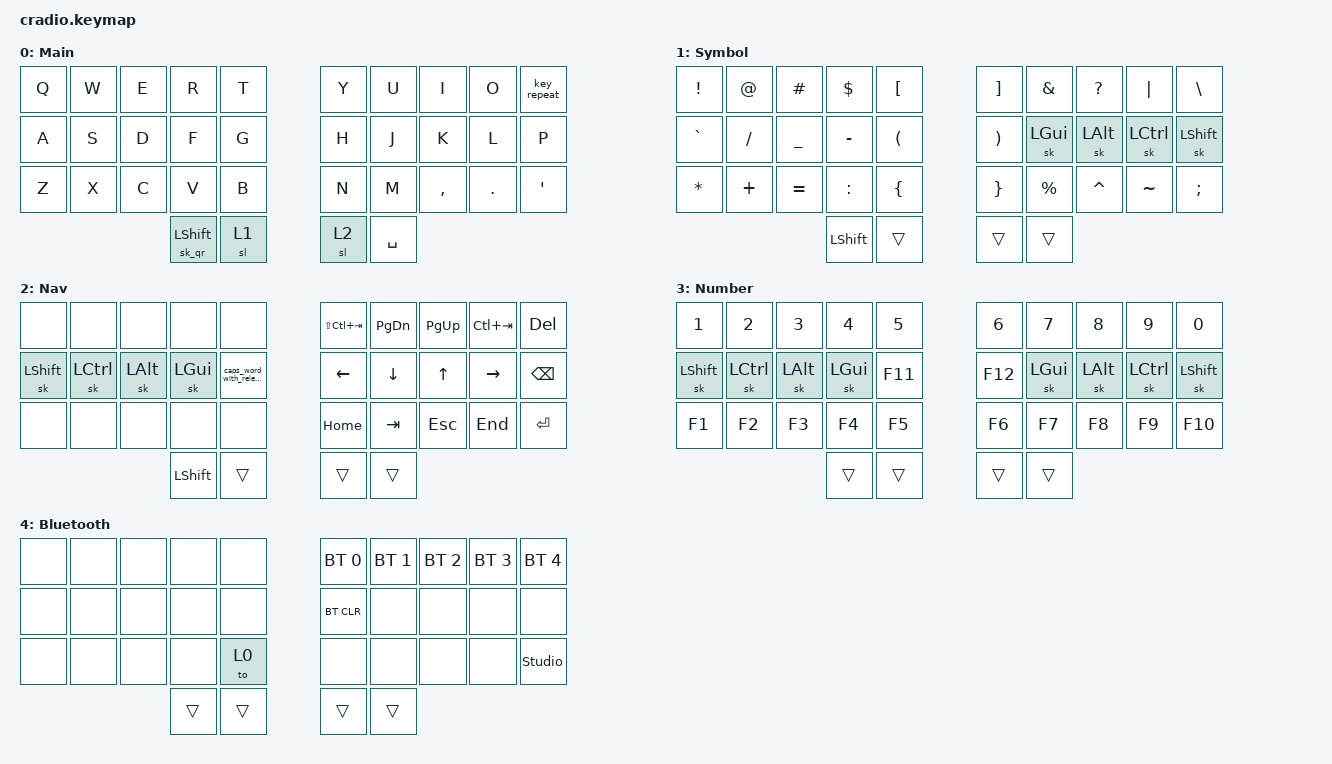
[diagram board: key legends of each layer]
#include <behaviors.dtsi>
#include <dt-bindings/zmk/bt.h>
#include <dt-bindings/zmk/keys.h>

&sk { release-after-ms = <1000>; };

&sl { release-after-ms = <300>; };

&caps_word { continue-list = <UNDERSCORE BACKSPACE DELETE K_CANCEL>; };

/ {
    combos {
        compatible = "zmk,combos";

        bt {
            bindings = <&mo 4>;
            key-positions = <32 33>;
        };

        cmd {
            bindings = <&kp LCMD>;
            key-positions = <30 31>;
        };
    };

    behaviors {
        sk_qr: sk_quick_release {
            compatible = "zmk,behavior-sticky-key";
            label = "SK_QUICK_RELEASE";
            bindings = <&kp>;
            #binding-cells = <1>;
            release-after-ms = <500>;
            quick-release;
            ignore-modifiers;
        };
    };

    macros {
        caps_word_with_release: caps_word_with_release {
            compatible = "zmk,behavior-macro";
            #binding-cells = <0>;
            bindings = <&caps_word &kp K_CANCEL>;
            label = "CAPS_WORD_WITH_RELEASE";
        };
    };

    keymap {
        compatible = "zmk,keymap";

        Main {
            bindings = <
&kp Q  &kp W  &kp E  &kp R              &kp T    &kp Y  &kp U      &kp I      &kp O    &key_repeat
&kp A  &kp S  &kp D  &kp F              &kp G    &kp H  &kp J      &kp K      &kp L    &kp P
&kp Z  &kp X  &kp C  &kp V              &kp B    &kp N  &kp M      &kp COMMA  &kp DOT  &kp SINGLE_QUOTE
                     &sk_qr LEFT_SHIFT  &sl 1    &sl 2  &kp SPACE
            >;
        };

        Symbol {
            bindings = <
&kp EXCLAMATION  &kp AT     &kp POUND  &kp DOLLAR      &kp LEFT_BRACKET    &kp RIGHT_BRACKET  &kp AMPS     &kp QUESTION  &kp PIPE   &kp BACKSLASH
&kp GRAVE        &kp SLASH  &kp UNDER  &kp MINUS       &kp LPAR            &kp RPAR           &sk LGUI     &sk LALT      &sk LCTRL  &sk LSHFT
&kp ASTRK        &kp PLUS   &kp EQUAL  &kp COLON       &kp LEFT_BRACE      &kp RIGHT_BRACE    &kp PERCENT  &kp CARET     &kp TILDE  &kp SEMI
                                       &kp LEFT_SHIFT  &trans              &trans             &trans
            >;
        };

        Nav {
            bindings = <
&none      &none      &none     &none      &none                      &kp LS(LC(TAB))  &kp PG_DN  &kp PG_UP  &kp LC(TAB)  &kp DEL
&sk LSHFT  &sk LCTRL  &sk LALT  &sk LGUI   &caps_word_with_release    &kp LEFT         &kp DOWN   &kp UP     &kp RIGHT    &kp BACKSPACE
&none      &none      &none     &none      &none                      &kp HOME         &kp TAB    &kp ESC    &kp END      &kp ENTER
                                &kp LSHFT  &trans                     &trans           &trans
            >;
        };

        Number {
            bindings = <
&kp N1     &kp N2     &kp N3    &kp N4    &kp N5     &kp N6   &kp N7    &kp N8    &kp N9     &kp N0
&sk LSHFT  &sk LCTRL  &sk LALT  &sk LGUI  &kp F11    &kp F12  &sk LGUI  &sk LALT  &sk LCTRL  &sk LSHFT
&kp F1     &kp F2     &kp F3    &kp F4    &kp F5     &kp F6   &kp F7    &kp F8    &kp F9     &kp F10
                                &trans    &trans     &trans   &trans
            >;
        };

        Bluetooth {
            bindings = <
&none  &none  &none  &none   &none     &bt BT_SEL 0  &bt BT_SEL 1  &bt BT_SEL 2  &bt BT_SEL 3  &bt BT_SEL 4
&none  &none  &none  &none   &none     &bt BT_CLR    &none         &none         &none         &none
&none  &none  &none  &none   &to 0     &none         &none         &none         &none         &studio_unlock
                     &trans  &trans    &trans        &trans
            >;
        };
    };

    conditional_layers {
        compatible = "zmk,conditional-layers";

        Number {
            if-layers = <1 2>;
            then-layer = <3>;
        };
    };
};
